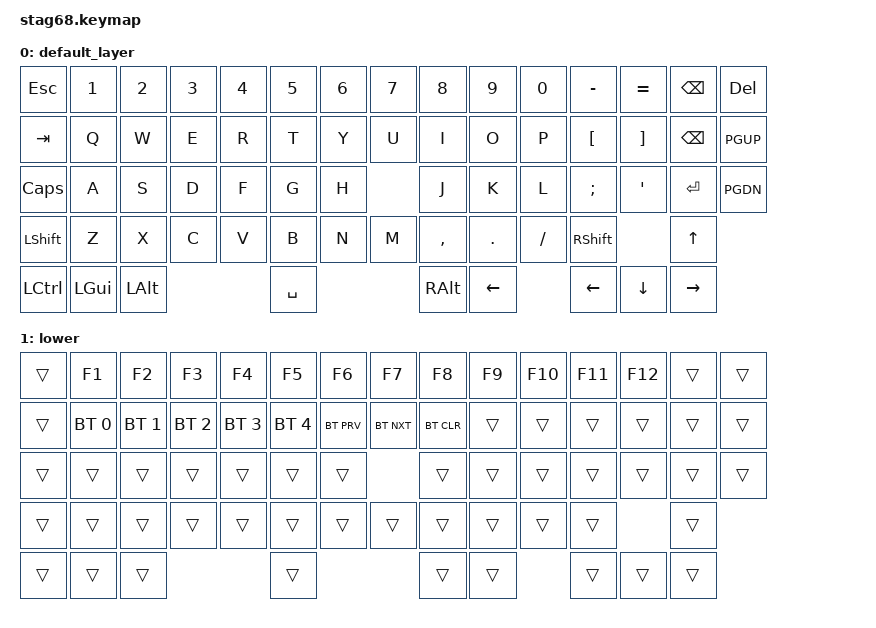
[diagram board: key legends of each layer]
#include <behaviors.dtsi>
#include <dt-bindings/zmk/keys.h>
#include <dt-bindings/zmk/bt.h>
#include <dt-bindings/zmk/outputs.h>

/ {
    behaviors {
        mo: momentary_layer {
            compatible = "zmk,behavior-momentary-layer";
            label = "MO";
        };
    };
    keymap {
        compatible = "zmk,keymap";

        default_layer {
            bindings = <
                &kp ESC     &kp 1     &kp 2     &kp 3     &kp 4     &kp 5     &kp 6     &kp 7     &kp 8     &kp 9     &kp 0     &kp MINUS &kp EQUAL &kp BSPC   &kp DEL
                &kp TAB     &kp Q     &kp W     &kp E     &kp R     &kp T     &kp Y     &kp U     &kp I     &kp O     &kp P     &kp LBKT  &kp RBKT  &kp BSPC   &kp PGUP
                &kp CAPS    &kp A     &kp S     &kp D     &kp F     &kp G     &kp H     &kp J     &kp K     &kp L     &kp SEMI  &kp SQT   &kp ENTER             &kp PGDN
                &kp LSHIFT  &kp Z     &kp X     &kp C     &kp V     &kp B     &kp N     &kp M     &kp COMMA &kp DOT   &kp SLASH &kp RSHIFT         &kp UP
                &kp LCTRL   &kp LGUI  &kp LALT                      &kp SPACE                         &kp RALT  &kp LEFT      &kp LEFT  &kp DOWN  &kp RIGHT
            >;
        };

        lower {
            bindings = <
                &trans    &kp F1   &kp F2   &kp F3   &kp F4   &kp F5   &kp F6   &kp F7   &kp F8   &kp F9   &kp F10  &kp F11   &kp F12   &trans    &trans
                &trans    &bt BT_SEL 0  &bt BT_SEL 1  &bt BT_SEL 2  &bt BT_SEL 3  &bt BT_SEL 4  &bt BT_PRV &bt BT_NXT &bt BT_CLR  &trans  &trans  &trans   &trans   &trans    &trans
                &trans    &trans  &trans  &trans  &trans  &trans  &trans  &trans  &trans  &trans  &trans  &trans   &trans             &trans
                &trans    &trans  &trans  &trans  &trans  &trans  &trans  &trans  &trans  &trans  &trans  &trans             &trans
                &trans    &trans  &trans                      &trans                      &trans  &trans   &trans   &trans   &trans
            >;
        };
    };
};
